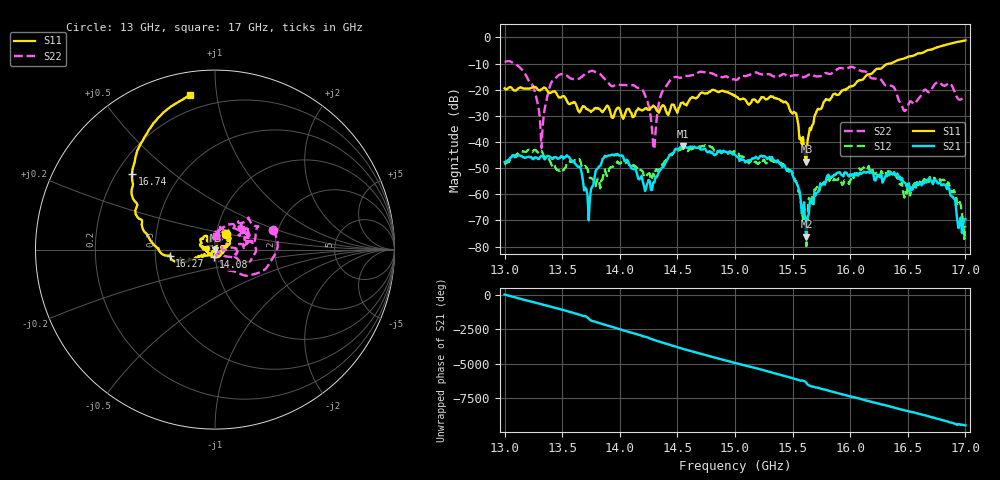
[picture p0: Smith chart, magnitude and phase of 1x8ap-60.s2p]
!Keysight Technologies,P9374A,MY57211807,A.19.30.04
!Date: Friday, May 08, 2026 15:47:03
!Correction: S11(C  2-Port  )
!S21(C  2-Port  )
!S12(C  2-Port  )
!S22(C  2-Port  )
!S2P File: Measurements: S11, S21, S12, S22:
# Hz S  dB  R 50
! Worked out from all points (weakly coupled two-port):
!   401 points, 13 GHz to 17 GHz, reference 50 ohm
!   highest |S21| = -41.67 dB at 14.55 GHz (marker M1); lowest = -76.2 dB at 15.62 GHz (marker M2)
!   lowest |S11| = -47.6 dB at 15.62 GHz (marker M3), VSWR 1.01, Z = 50.3 - j0.323 ohm
!   |S11| at or under -10 dB: start of sweep to 16.35 GHz
!   |S22| runs from -42.8 to -9.1 dB; largest |S21 - S12| = 0.0032
!   S11 on the Smith chart (normalised r, x): 13 GHz: 1.11, +0.19; 14.08 GHz: 0.98, -0.08; 16.27 GHz: 0.60, -0.04; 16.74 GHz: 0.26, +0.37; 17 GHz: 0.12, +0.84
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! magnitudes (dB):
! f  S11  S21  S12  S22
! 13 GHz  -19.5  -47.8  -48.7  -9.3
! 13.24 GHz  -19.2  -46.4  -43.9  -18.1
! 13.32 GHz  -19.9  -45.3  -43.3  -42.3
! 13.42 GHz  -20.8  -46.4  -48.3  -16.3
! 13.67 GHz  -27.0  -52.1  -49.5  -15.1
! 13.73 GHz  -27.8  -70.0  -52.5  -13.2
! 13.87 GHz  -27.4  -45.3  -50.5  -16.0
! 14.08 GHz  -27.4  -48.4  -48.7  -18.4
! 14.21 GHz  -27.5  -56.8  -53.1  -21.1
! 14.29 GHz  -26.1  -55.5  -52.1  -41.4
! 14.34 GHz  -28.8  -51.4  -50.7  -25.0
! 14.55 GHz  -24.9  -41.7  -42.4  -14.9
! 15 GHz  -22.2  -44.9  -44.0  -16.2
! 15.48 GHz  -28.2  -50.9  -50.9  -14.9
! 15.62 GHz  -47.6  -76.2  -79.8  -14.8
! 15.67 GHz  -33.7  -63.1  -61.0  -14.2
! 15.89 GHz  -22.0  -51.7  -54.6  -12.1
! 16.27 GHz  -11.9  -52.5  -51.1  -16.3
! 16.34 GHz  -10.0  -52.8  -51.3  -18.5
! 16.48 GHz  -7.9  -55.8  -59.2  -28.0
! 16.74 GHz  -4.1  -54.6  -54.4  -17.6
! 17 GHz  -1.2  -69.4  -72.1  -22.2
